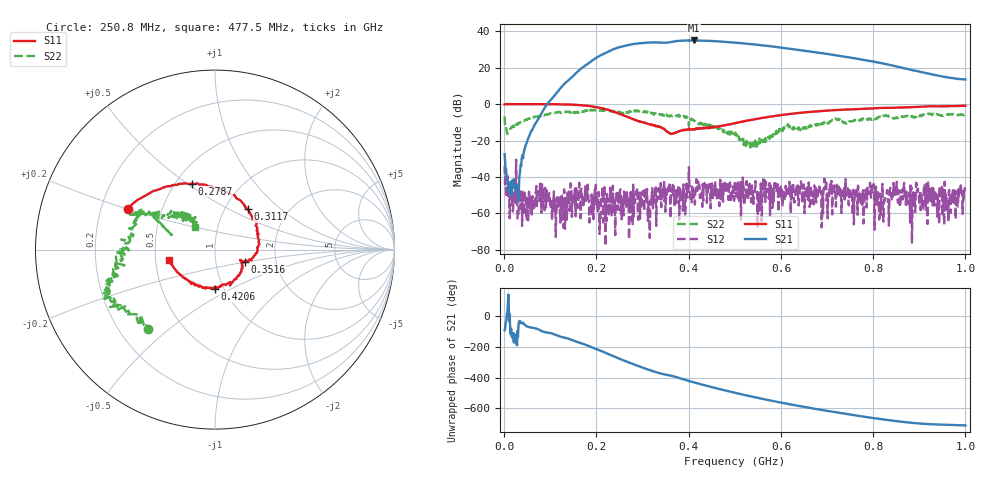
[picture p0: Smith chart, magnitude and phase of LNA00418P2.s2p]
! Created with skrf 1.9.0 (http://scikit-rf.org).
# Hz S RI R 50.0
!freq ReS11 ImS11 ReS21 ImS21 ReS12 ImS12 ReS22 ImS22
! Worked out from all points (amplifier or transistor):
!   1001 points, 1 MHz to 1 GHz, reference 50 ohm
!   highest |S21| = 35.0 dB at 410.6 MHz (marker M1)
!   |S21| within 3 dB of that: 260.6 MHz to 571.2 MHz (310.6 MHz wide, 74.7 % of centre)
!   unconditionally stable (mu >= 1): 199.2 MHz to 235.5 MHz; 236.1 MHz to 400.2 MHz; 400.9 MHz to end of sweep (the widest 3 of 34)
!   at 166.8 MHz: K = 0.50, MSG = 33.0 dB, |S12| = -46.5 dB
!   at 500.5 MHz: K = 1.28, MAG = 34.7 dB, |S12| = -42.0 dB
!   at 1 GHz: K = 3.27, MAG = 22.5 dB, |S12| = -47.5 dB
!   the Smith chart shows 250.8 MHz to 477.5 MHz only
!   S11 on the Smith chart (normalised r, x): 250.8 MHz: 0.31, +0.20; 278.7 MHz: 0.60, +0.52; 311.7 MHz: 1.27, +0.63; 351.6 MHz: 1.38, -0.19; 420.6 MHz: 0.90, -0.42; 477.5 MHz: 0.59, -0.08
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1000000  0.9813 0.00357  -0.00156 -0.0422  -0.0198 0.00411  0.3295 0.3274
1.08892e8  0.5265 -0.8449  -0.8099 -1.495  0.000856 -0.000809  0.4153 -0.3814
1.67833e8  -0.2184 -0.9026  -9.638 -0.5107  0.00127 -0.00462  0.0217 -0.6445
2.12788e8  -0.687 -0.3503  -14.85 17.79  0.00237 0.00416  -0.2426 -0.6228
2.31769e8  -0.6536 -0.0335  -8.004 28.99  0.00297 -0.00244  -0.286 -0.5565
2.5075e8  -0.4862 0.2279  5.162 36.32  -0.00199 -0.00276  -0.3723 -0.443
2.78722e8  -0.1298 0.3674  29.37 32.88  0.000364 0.000351  -0.59 -0.29
3.11689e8  0.1826 0.2251  47.46 10.55  -0.000493 0.000379  -0.5768 -0.1584
3.34666e8  0.2467 0.0285  48.62 -8.421  -0.00352 0.00343  -0.5216 -0.0117
3.51649e8  0.1654 -0.0673  44.88 -18.39  0.00384 0.0009  -0.5225 0.0554
3.76624e8  0.1497 -0.0894  41.25 -35.17  0.00249 0.00252  -0.4478 0.1956
4.1059e8  0.0465 -0.1935  18.29 -52.92  0.00229 -0.00137  -0.3177 0.1666
4.2058e8  -0.00273 -0.2189  10.07 -54.72  -0.00187 0.00727  -0.2092 0.2077
4.46554e8  -0.138 -0.1781  -9.243 -53.62  0.00619 0.00155  -0.2007 0.2117
4.77523e8  -0.255 -0.0605  -28.23 -43.18  0.00448 0.000658  -0.1132 0.1233
5.005e8  -0.2952 0.0589  -37.62 -31.65  -0.00125 0.00787  -0.1027 0.1237
5.4046e8  -0.2543 0.2834  -42.53 -10  0.000631 -0.0017  -0.0628 -0.00801
5.88412e8  -0.0737 0.4737  -35.73 10.87  0.00673 -0.000449  -0.1217 -0.0844
6.67333e8  0.3055 0.5364  -13.26 23.73  0.00105 -0.00368  -0.2497 -0.0662
7.53247e8  0.6125 0.377  4.242 18.18  -0.00295 -0.00226  -0.3342 0.013
8.34166e8  0.7765 0.1568  9.001 8.046  0.000447 -0.000114  -0.4462 0.0977
1e9  0.8178 -0.3793  4.712 0.6299  -0.00408 0.00106  -0.2565 0.4657
